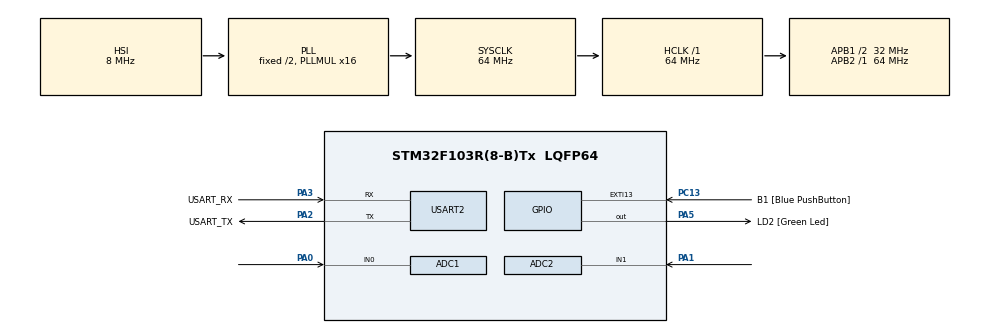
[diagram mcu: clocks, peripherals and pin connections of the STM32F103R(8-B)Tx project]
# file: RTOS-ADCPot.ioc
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ADC1.Channel-1\#ChannelRegularConversion=ADC_CHANNEL_0
ADC1.NbrOfConversionFlag=1
ADC1.Rank-1\#ChannelRegularConversion=1
ADC1.SamplingTime-1\#ChannelRegularConversion=ADC_SAMPLETIME_1CYCLE_5
ADC1.master=1
FREERTOS.Tasks01=defaultTask,24,128,StartDefaultTask,Default,NULL,Dynamic,NULL,NULL;readADC,24,128,startReadADC,Default,NULL,Dynamic,NULL,NULL
Mcu.Family=STM32F1
Mcu.Name=STM32F103R(8-B)Tx
Mcu.Package=LQFP64
NVIC.EXTI15_10_IRQn=true\:5\:0\:false\:false\:true\:true\:true\:true\:true
NVIC.PriorityGroup=NVIC_PRIORITYGROUP_4
NVIC.TIM4_IRQn=true\:15\:0\:false\:false\:true\:false\:false\:true\:true
NVIC.TimeBase=TIM4_IRQn
NVIC.TimeBaseIP=TIM4
PA0-WKUP.Signal=ADCx_IN0
PA1.Signal=ADCx_IN1
PA13.GPIO_Label=TMS
PA13.Mode=Serial_Wire
PA13.Signal=SYS_JTMS-SWDIO
PA14.GPIO_Label=TCK
PA14.Mode=Serial_Wire
PA14.Signal=SYS_JTCK-SWCLK
PA2.GPIO_Label=USART_TX
PA2.GPIO_Mode=GPIO_MODE_AF_PP
PA2.GPIO_PuPd=GPIO_NOPULL
PA2.GPIO_Speed=GPIO_SPEED_FREQ_LOW
PA2.Mode=Asynchronous
PA2.Signal=USART2_TX
PA3.GPIO_Label=USART_RX
PA3.GPIO_Mode=GPIO_MODE_AF_PP
PA3.GPIO_PuPd=GPIO_NOPULL
PA3.GPIO_Speed=GPIO_SPEED_FREQ_LOW
PA3.Mode=Asynchronous
PA3.Signal=USART2_RX
PA5.GPIO_Label=LD2 [Green Led]
PA5.GPIO_ModeDefaultOutputPP=GPIO_MODE_OUTPUT_PP
PA5.GPIO_PuPd=GPIO_NOPULL
PA5.GPIO_Speed=GPIO_SPEED_FREQ_LOW
PA5.Signal=GPIO_Output
PB3.GPIO_Label=SWO
PB3.Signal=SYS_JTDO-TRACESWO
PC13-TAMPER-RTC.GPIO_Label=B1 [Blue PushButton]
PC13-TAMPER-RTC.GPIO_PuPd=GPIO_NOPULL
PC13-TAMPER-RTC.Signal=GPXTI13
PC14-OSC32_IN.Mode=LSE-External-Oscillator
PC14-OSC32_IN.Signal=RCC_OSC32_IN
PC15-OSC32_OUT.Mode=LSE-External-Oscillator
PC15-OSC32_OUT.Signal=RCC_OSC32_OUT
PD0-OSC_IN.Mode=HSE-External-Clock-Source
PD0-OSC_IN.Signal=RCC_OSC_IN
PD1-OSC_OUT.Mode=HSE-External-Clock-Source
PD1-OSC_OUT.Signal=RCC_OSC_OUT
ProjectManager.HeapSize=0x200
ProjectManager.StackSize=0x400
ProjectManager.TargetToolchain=STM32CubeIDE
RCC.AHBFreq_Value=64000000
RCC.APB1CLKDivider=RCC_HCLK_DIV2
RCC.APB1Freq_Value=32000000
RCC.APB1TimFreq_Value=64000000
RCC.APB2Freq_Value=64000000
RCC.APB2TimFreq_Value=64000000
RCC.HCLKFreq_Value=64000000
RCC.PLLMUL=RCC_PLL_MUL16
RCC.RTCClockSelection=RCC_RTCCLKSOURCE_LSE
RCC.SYSCLKFreq_VALUE=64000000
RCC.SYSCLKSource=RCC_SYSCLKSOURCE_PLLCLK
RCC.USBFreq_Value=64000000
SH.ADCx_IN0.0=ADC1_IN0,IN0
SH.ADCx_IN1.0=ADC2_IN1,IN1
USART2.VirtualMode=VM_ASYNC
VP_FREERTOS_VS_CMSIS_V2.Mode=CMSIS_V2
VP_SYS_VS_tim4.Mode=TIM4
board=NUCLEO-F103RB

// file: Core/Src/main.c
/* USER CODE BEGIN Header */
/**
  ******************************************************************************
  * @file           : main.c
  * @brief          : Main program body
  ******************************************************************************
  * @attention
  *
  * Copyright (c) 2023 STMicroelectronics.
  * All rights reserved.
  *
  * This software is licensed under terms that can be found in the LICENSE file
  * in the root directory of this software component.
  * If no LICENSE file comes with this software, it is provided AS-IS.
  *
  ******************************************************************************
  */
/* USER CODE END Header */
#include "main.h"
#include "cmsis_os.h"

/* USER CODE BEGIN PD */
#define DEADZONE 400
#define POTMAX 3650

/* USER CODE END PD */

ADC_HandleTypeDef hadc1;
ADC_HandleTypeDef hadc2;

UART_HandleTypeDef huart2;

/* Definitions for defaultTask */
osThreadId_t defaultTaskHandle;
const osThreadAttr_t defaultTask_attributes = {
  .name = "defaultTask",
  .stack_size = 128 * 4,
  .priority = (osPriority_t) osPriorityNormal,
};
/* Definitions for readADC */
osThreadId_t readADCHandle;
const osThreadAttr_t readADC_attributes = {
  .name = "readADC",
  .stack_size = 128 * 4,
  .priority = (osPriority_t) osPriorityNormal,
};

void SystemClock_Config(void);
static void MX_GPIO_Init(void);
static void MX_USART2_UART_Init(void);
static void MX_ADC1_Init(void);
static void MX_ADC2_Init(void);
void StartDefaultTask(void *argument);
void startReadADC(void *argument);

int main(void)
{

  /* MCU Configuration--------------------------------------------------------*/

  /* Reset of all peripherals, Initializes the Flash interface and the Systick. */
  HAL_Init();

  /* Configure the system clock */
  SystemClock_Config();

  /* Initialize all configured peripherals */
  MX_GPIO_Init();
  MX_USART2_UART_Init();
  MX_ADC1_Init();
  MX_ADC2_Init();

  /* Init scheduler */
  osKernelInitialize();

  /* Create the thread(s) */
  /* creation of defaultTask */
  defaultTaskHandle = osThreadNew(StartDefaultTask, NULL, &defaultTask_attributes);

  /* creation of readADC */
  readADCHandle = osThreadNew(startReadADC, NULL, &readADC_attributes);

  /* Start scheduler */
  osKernelStart();

  /* We should never get here as control is now taken by the scheduler */
  /* Infinite loop */
  while (1)
  {

  }
}

void SystemClock_Config(void)
{
  RCC_OscInitTypeDef RCC_OscInitStruct = {0};
  RCC_ClkInitTypeDef RCC_ClkInitStruct = {0};
  RCC_PeriphCLKInitTypeDef PeriphClkInit = {0};

  /** Initializes the RCC Oscillators according to the specified parameters
  * in the RCC_OscInitTypeDef structure.
  */
  RCC_OscInitStruct.OscillatorType = RCC_OSCILLATORTYPE_HSI;
  RCC_OscInitStruct.HSIState = RCC_HSI_ON;
  RCC_OscInitStruct.HSICalibrationValue = RCC_HSICALIBRATION_DEFAULT;
  RCC_OscInitStruct.PLL.PLLState = RCC_PLL_ON;
  RCC_OscInitStruct.PLL.PLLSource = RCC_PLLSOURCE_HSI_DIV2;
  RCC_OscInitStruct.PLL.PLLMUL = RCC_PLL_MUL16;
  if (HAL_RCC_OscConfig(&RCC_OscInitStruct) != HAL_OK)
  {
    Error_Handler();
  }

  /** Initializes the CPU, AHB and APB buses clocks
  */
  RCC_ClkInitStruct.ClockType = RCC_CLOCKTYPE_HCLK|RCC_CLOCKTYPE_SYSCLK
                              |RCC_CLOCKTYPE_PCLK1|RCC_CLOCKTYPE_PCLK2;
  RCC_ClkInitStruct.SYSCLKSource = RCC_SYSCLKSOURCE_PLLCLK;
  RCC_ClkInitStruct.AHBCLKDivider = RCC_SYSCLK_DIV1;
  RCC_ClkInitStruct.APB1CLKDivider = RCC_HCLK_DIV2;
  RCC_ClkInitStruct.APB2CLKDivider = RCC_HCLK_DIV1;

  if (HAL_RCC_ClockConfig(&RCC_ClkInitStruct, FLASH_LATENCY_2) != HAL_OK)
  {
    Error_Handler();
  }
  PeriphClkInit.PeriphClockSelection = RCC_PERIPHCLK_ADC;
  PeriphClkInit.AdcClockSelection = RCC_ADCPCLK2_DIV2;
  if (HAL_RCCEx_PeriphCLKConfig(&PeriphClkInit) != HAL_OK)
  {
    Error_Handler();
  }
}

static void MX_ADC1_Init(void)
{

  ADC_ChannelConfTypeDef sConfig = {0};

  /** Common config
  */
  hadc1.Instance = ADC1;
  hadc1.Init.ScanConvMode = ADC_SCAN_DISABLE;
  hadc1.Init.ContinuousConvMode = DISABLE;
  hadc1.Init.DiscontinuousConvMode = DISABLE;
  hadc1.Init.ExternalTrigConv = ADC_SOFTWARE_START;
  hadc1.Init.DataAlign = ADC_DATAALIGN_RIGHT;
  hadc1.Init.NbrOfConversion = 1;
  if (HAL_ADC_Init(&hadc1) != HAL_OK)
  {
    Error_Handler();
  }

  /** Configure Regular Channel
  */
  sConfig.Channel = ADC_CHANNEL_0;
  sConfig.Rank = ADC_REGULAR_RANK_1;
  sConfig.SamplingTime = ADC_SAMPLETIME_1CYCLE_5;
  if (HAL_ADC_ConfigChannel(&hadc1, &sConfig) != HAL_OK)
  {
    Error_Handler();
  }

}

static void MX_ADC2_Init(void)
{

  /** Common config
  */
  hadc2.Instance = ADC2;
  hadc2.Init.ScanConvMode = ADC_SCAN_DISABLE;
  hadc2.Init.ContinuousConvMode = DISABLE;
  hadc2.Init.DiscontinuousConvMode = DISABLE;
  hadc2.Init.ExternalTrigConv = ADC_SOFTWARE_START;
  hadc2.Init.DataAlign = ADC_DATAALIGN_RIGHT;
  hadc2.Init.NbrOfConversion = 1;
  if (HAL_ADC_Init(&hadc2) != HAL_OK)
  {
    Error_Handler();
  }

}

static void MX_USART2_UART_Init(void)
{

  huart2.Instance = USART2;
  huart2.Init.BaudRate = 115200;
  huart2.Init.WordLength = UART_WORDLENGTH_8B;
  huart2.Init.StopBits = UART_STOPBITS_1;
  huart2.Init.Parity = UART_PARITY_NONE;
  huart2.Init.Mode = UART_MODE_TX_RX;
  huart2.Init.HwFlowCtl = UART_HWCONTROL_NONE;
  huart2.Init.OverSampling = UART_OVERSAMPLING_16;
  if (HAL_UART_Init(&huart2) != HAL_OK)
  {
    Error_Handler();
  }

}

static void MX_GPIO_Init(void)
{
  GPIO_InitTypeDef GPIO_InitStruct = {0};

  /* GPIO Ports Clock Enable */
  __HAL_RCC_GPIOC_CLK_ENABLE();
  __HAL_RCC_GPIOD_CLK_ENABLE();
  __HAL_RCC_GPIOA_CLK_ENABLE();
  __HAL_RCC_GPIOB_CLK_ENABLE();

  /*Configure GPIO pin Output Level */
  HAL_GPIO_WritePin(LD2_GPIO_Port, LD2_Pin, GPIO_PIN_RESET);

  /*Configure GPIO pin : B1_Pin */
  GPIO_InitStruct.Pin = B1_Pin;
  GPIO_InitStruct.Mode = GPIO_MODE_IT_RISING;
  GPIO_InitStruct.Pull = GPIO_NOPULL;
  HAL_GPIO_Init(B1_GPIO_Port, &GPIO_InitStruct);

  /*Configure GPIO pin : LD2_Pin */
  GPIO_InitStruct.Pin = LD2_Pin;
  GPIO_InitStruct.Mode = GPIO_MODE_OUTPUT_PP;
  GPIO_InitStruct.Pull = GPIO_NOPULL;
  GPIO_InitStruct.Speed = GPIO_SPEED_FREQ_LOW;
  HAL_GPIO_Init(LD2_GPIO_Port, &GPIO_InitStruct);

  /* EXTI interrupt init*/
  HAL_NVIC_SetPriority(EXTI15_10_IRQn, 5, 0);
  HAL_NVIC_EnableIRQ(EXTI15_10_IRQn);

}

void StartDefaultTask(void *argument)
{
  /* USER CODE BEGIN 5 */

  /* Infinite loop */
  for(;;)
  {

    osDelay(10);
  }
  /* USER CODE END 5 */
}

void startReadADC(void *argument)
{
  /* USER CODE BEGIN startReadADC */
  uint16_t ADCRaw;
  float motorCurrent = 10;
  char msg[15];
  /* Infinite loop */
  for(;;)
  {
	  HAL_ADC_Start(&hadc1);
	  HAL_ADC_PollForConversion(&hadc1, HAL_MAX_DELAY);
	  ADCRaw = HAL_ADC_GetValue(&hadc1);

	  if (event_flags.reverse_enable)
		velocity.float_value = -100.0;
	  else
	    velocity.float_value = 100.0;

	  current.float_value =

	  //Writing data into data_send
	  for (int i = 0; i < (uint8_t) CAN_DATA_LENGTH / 2; i++)
	  {
		  data_send[i] = velocity.bytes[i];
	      data_send[i + 4] = current.bytes[i];
	  }

	          // send CAN message to motor controller
	          HAL_CAN_AddTxMessage(&hcan, &drive_command_header, data_send, &can_mailbox);
	  //motorCurrent = (ADCRaw - DEADZONE >= 0 ? (float)(ADCRaw - DEADZONE) : 0.0);

	  // Convert to string and print
	  sprintf(msg, "%f\n", motorCurrent);
	  HAL_UART_Transmit(&huart2, (uint8_t*)msg, strlen(msg), HAL_MAX_DELAY);
	  osDelay(10);
  }
  /* USER CODE END startReadADC */
}

void HAL_TIM_PeriodElapsedCallback(TIM_HandleTypeDef *htim)
{
  if (htim->Instance == TIM4) {
    HAL_IncTick();
  }
}

void Error_Handler(void)
{
  __disable_irq();
  while (1)
  {
  }
}
